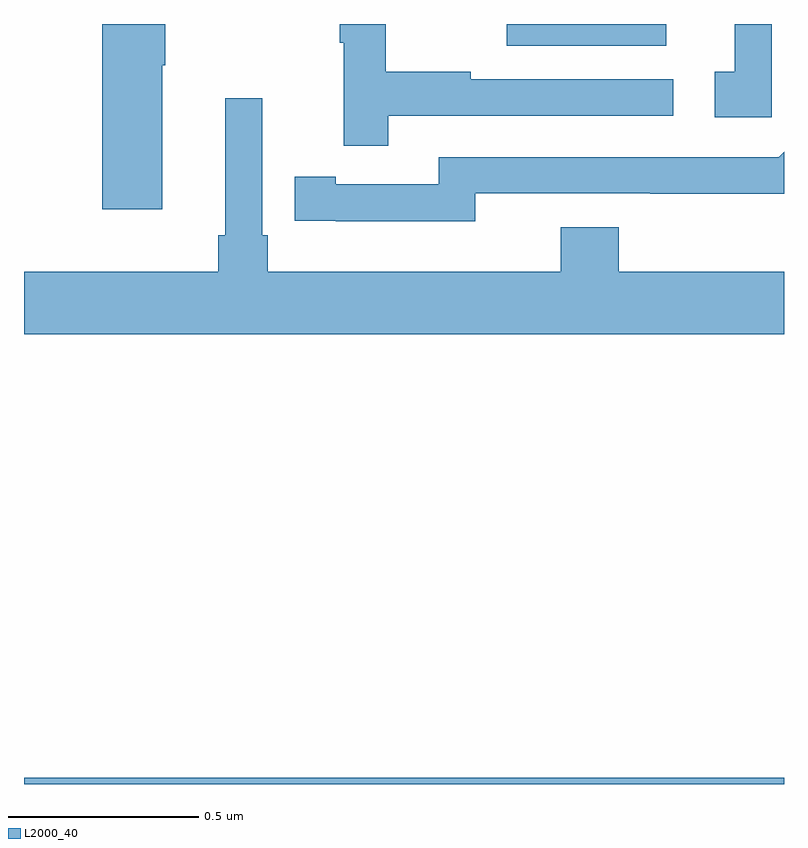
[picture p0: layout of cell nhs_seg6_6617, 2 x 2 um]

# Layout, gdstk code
import gdstk
lib = gdstk.Library(unit=1e-6, precision=1e-09)
def R(c, l, rs):  # rectangles x0, y0, x1, y1
    for r in rs: c.add(gdstk.rectangle(r[:2], r[2:], *l))
def P(c, l, *ps):  # polygons
    for p in ps: c.add(gdstk.Polygon(p, *l))
L2000_40 = (2000, 40)

nhs_seg6_6617 = lib.new_cell('nhs_seg6_6617')
R(nhs_seg6_6617, L2000_40, [(198,931.5,200,931.516), (199.271,933.443,199.69,933.5)])
P(nhs_seg6_6617, L2000_40, [(198.364,933.391),(198.372,933.391),(198.372,933.5),(198.206,933.5),(198.206,933.012),(198.364,933.012)],
  [(199.968,933.5),(199.871,933.5),(199.871,933.375),(199.818,933.375),(199.818,933.255),(199.968,933.255)],
  [(198.959,933.258),(199.708,933.258),(199.708,933.354),(199.175,933.354),(199.175,933.374),(198.952,933.374),(198.952,933.5),(198.831,933.5),(198.831,933.451),(198.842,933.451),(198.842,933.18),(198.959,933.18)],
  [(200,932.848),(199.565,932.848),(199.565,932.965),(199.412,932.965),(199.412,932.848),(198.641,932.848),(198.641,932.944),(198.627,932.944),(198.627,933.304),(198.53,933.304),(198.53,932.944),(198.511,932.944),(198.511,932.848),(198,932.848),(198,932.684),(200,932.684)],
  [(199.188,933.054),(199.648,933.054),(199.648,933.053),(200,933.053),(200,933.164),(199.986,933.15),(199.092,933.15),(199.092,933.078),(198.82,933.078),(198.82,933.098),(198.712,933.098),(198.712,932.982),(198.82,932.982),(198.82,932.981),(199.188,932.981)])

lib.write_gds('nhs_seg6_6617.gds')
